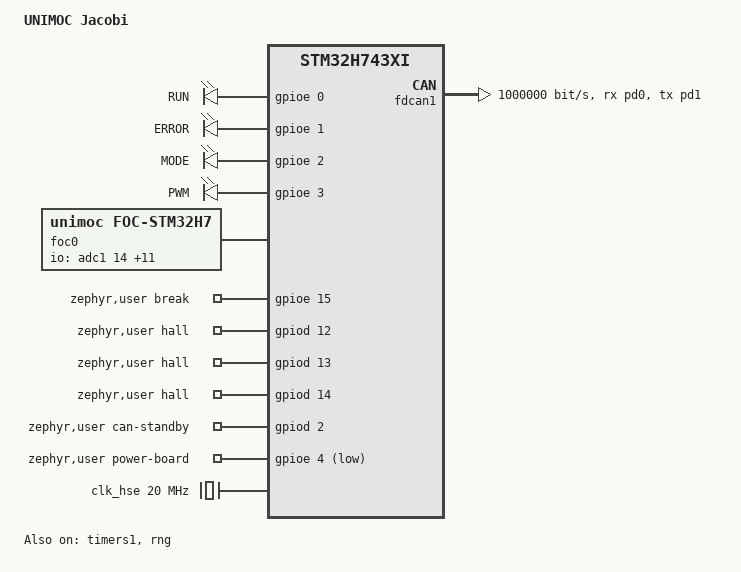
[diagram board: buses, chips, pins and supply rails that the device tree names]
/*
 * UNIMOC Jacobi: 36 V / 45 A drive, STM32H743VIT6 (LQFP100, 2 MB flash).
 *
 * The H7 redesign of the hardware_4850 logic board with its own power board
 * (docs/drive4850_h7_plan.md, schematic in Tecnologic/unimoc_jacobi), without
 * the fourth half bridge. Only the clock (20 MHz HSE) follows the drawn
 * schematic yet; the other pins follow the older pin proposal of the plan and
 * differ from the schematic (TODO.md, "Jacobi devicetree to the schematic").
 * Not run on hardware.
 *
 * Pin and peripheral assignment of the power stage lives in the foc0 node
 * below; the platform (hardware/zephyr_stm32h7) derives timer, ADCs, pins and
 * interrupts from it.
 *
 * SPDX-License-Identifier: GPL-3.0-or-later
 */

/dts-v1/;
#include <st/h7/stm32h743Xi.dtsi>
#include <st/h7/stm32h743vitx-pinctrl.dtsi>

/ {
	model = "UNIMOC Jacobi";
	compatible = "unimoc,jacobi";

	chosen {
		zephyr,sram = &sram0;
		zephyr,flash = &flash0;
		zephyr,dtcm = &dtcm;
		zephyr,itcm = &itcm; /* hot path, hardware/zephyr_stm32h7/hot_path_itcm.ld */
		zephyr,code-partition = &slot0_partition;
		zephyr,canbus = &fdcan1;
	};

	/* The status LEDs of hardware/status_leds.hpp. */
	aliases {
		unimoc-led-run = &led_run;
		unimoc-led-pwm = &led_pwm;
		unimoc-led-error = &led_error;
	};

	/*
	 * Status LEDs LED_RUN PE0, LED_ERROR PE1, LED_MODE PE2, LED_PWM PE3
	 * (schematic, interfaces sheet), active high.
	 */
	leds {
		compatible = "gpio-leds";
		led_run: led-run {
			gpios = <&gpioe 0 GPIO_ACTIVE_HIGH>;
			label = "RUN";
		};
		led_error: led-error {
			gpios = <&gpioe 1 GPIO_ACTIVE_HIGH>;
			label = "ERROR";
		};
		led_mode: led-mode {
			gpios = <&gpioe 2 GPIO_ACTIVE_HIGH>;
			label = "MODE";
		};
		led_pwm: led-pwm {
			gpios = <&gpioe 3 GPIO_ACTIVE_HIGH>;
			label = "PWM";
		};
	};

	/*
	 * Three-phase power stage on the Jacobi power board: NCEP6080AG (60 V),
	 * two in parallel per switch, LM5109B gate drivers, one 0.5 mOhm shunt
	 * with an INA240A1 per phase, 47k / 2k2 dividers for Va, Vb, Vc and Vdc
	 * (schematic in Tecnologic/unimoc_jacobi, docs/h743_logic_board.md).
	 *
	 * TIM1 generates centre-aligned PWM on CH1..CH3 (PA8..PA10) and
	 * CH1N..CH3N (PB13..PB15). TRGO2 (rising OC4REF / OC6REF) starts the
	 * injected sequences of ADC1..ADC3 at the same instant. The end of the
	 * ADC1 sequence is the sample interrupt (zero latency), the TIM1 update
	 * vector the observer interrupt. ADC1 has the longest sequence (both
	 * temperatures are on ADC1-only pins), so ADC2 and ADC3 are done by then.
	 */
	foc0: foc-power-stage {
		compatible = "unimoc,foc-stm32h7";
		status = "okay";

		timer = <&timers1>;

		/*
		 * The Jacobi power stage is designed for 200 ns (schematic, phase
		 * sheet). 1 us until 200 ns is checked on the scope.
		 */
		dead-time-ns = <1000>;

		/* Front end: 0.5 mOhm shunt with INA240A1 (+-160 A), 47k / 2k2 dividers (73.8 V). */
		shunt-nano-ohm = <500000>;
		current-amplifier-gain = <20>;
		voltage-divider-ohms = <47000 2200>;
		/* Trip 120 A (rating 120 to 130 A), 100 A peak phase current. */
		max-phase-current-amps = <120>;
		max-motor-current-amps = <100>;
		battery-current-amps = <45 20>;
		/* 60 V FETs, 36 V systems up to 44 V: derate 45 V, trip 48 V, at most 50 V. */
		dc-link-millivolts = <45000 48000 50000>;

		/*
		 * Gate driver supply +12P: 10k / 2k2 (R109/R110) at the drivers, on
		 * PC5 (V12P_SNS). The LM5109B undervoltage lockout is at about 6.7 V;
		 * the NCEP6080AG is specified at 10 V gate drive (the high side gets
		 * +12P less the bootstrap diode), so engage from 10.5 V, trip below 10 V.
		 */
		gate-supply-divider-ohms = <10000 2200>;
		gate-supply-millivolts = <10000 10500>;

		pinctrl-0 = <&tim1_ch1_pa8 &tim1_ch1n_pb13
			     &tim1_ch2_pa9 &tim1_ch2n_pb14
			     &tim1_ch3_pa10 &tim1_ch3n_pb15
			     &tim1_bkin_pe15
			     &analog_pa2 &analog_pb1 &analog_pa0 &analog_pa1
			     &analog_pa3 &analog_pb0 &analog_pc5 &analog_pc4
			     &analog_pc2_c &analog_pc3_c &analog_pc1 &analog_pc0>;
		pinctrl-names = "default";

		/*
		 * Injected sequences in this order, the phase current first on each
		 * ADC. Vdc (PC1) is on ADC3, which reaches it like ADC1 and ADC2, so
		 * ADC2 has room for +12P and the brake lever (ADC1/2-only pins).
		 * Accelerator and brake lever: J601, sensors on +3.3VADC through
		 * 11k / 100n (AIN_ACC, AIN_DCC), 0 V to the ADC reference.
		 */
		io-channels = <&adc1 14>, <&adc1 5>, <&adc1 16>, <&adc1 17>, /* PA2 ia, PB1 va, PA0, PA1   */
			      <&adc2 15>, <&adc2 9>, <&adc2 8>, <&adc2 4>,    /* PA3 ib, PB0 vb, PC5, PC4   */
			      <&adc3 0>, <&adc3 1>, <&adc3 11>, <&adc3 10>;   /* PC2_C ic, PC3_C vc, PC1, PC0 */
		io-channel-names = "ia", "va", "motor-temperature", "bridge-temperature",
				   "ib", "vb", "gate-supply", "brake",
				   "ic", "vc", "vdc", "accelerator";

		/*
		 * ADC clock cycles at 30 MHz (pll2_p 120 MHz / 4). Currents and phase
		 * voltages through 220R / 2n2, Vdc and +12P through 4k7 / 10n, the
		 * accelerator and brake through 11k / 100n: short, the filter capacitors
		 * charge the sample capacitor. NTCs: longer. ADC1 stays the longest
		 * sequence (84 against 52 cycles).
		 */
		sample-times = "2.5", "16.5", "32.5", "32.5",
			       "2.5", "16.5", "16.5", "16.5",
			       "2.5", "16.5", "16.5", "16.5";
	};

	/*
	 * Further board signals, named after the nets of the schematic.
	 */
	zephyr,user {
		/*
		 * PWM_EN: the optocoupler U1102 (12 to 40 V on J501) on PE15, which
		 * is also TIM1_BKIN: low breaks the outputs in hardware. There is no
		 * separate gate driver enable.
		 */
		break-gpios = <&gpioe 15 GPIO_ACTIVE_HIGH>;
		/* Hall sensors A, B, C (TIM4 CH1..CH3 for a later capture). */
		hall-gpios = <&gpiod 12 GPIO_ACTIVE_HIGH>,
			     <&gpiod 13 GPIO_ACTIVE_HIGH>,
			     <&gpiod 14 GPIO_ACTIVE_HIGH>;
		/* TCAN334 STB on PD2: high = standby. Driven low by the Cyphal platform. */
		can-standby-gpios = <&gpiod 2 GPIO_ACTIVE_HIGH>;
		/*
		 * PWR_DET on PE4 (10k pull-up R612, GND on the power board): low while
		 * the power board is plugged in. Without it the drive does not engage.
		 */
		power-board-gpios = <&gpioe 4 GPIO_ACTIVE_LOW>;
	};
};

/* Break input: open means break, so pull it down. */
&tim1_bkin_pe15 {
	bias-pull-down;
};

/* Used by the foc0 driver: enables the timer and its IRQ vectors. */
&timers1 {
	status = "okay";
};

/*
 * The foc0 driver programs ADC1..3 itself; the Zephyr ADC driver would claim
 * them. The nodes stay in the tree for the registers, clocks and IRQs.
 */
&adc1 {
	status = "disabled";
};

&adc2 {
	status = "disabled";
};

&adc3 {
	status = "disabled";
};

/* The H743 has no SMPS: the core supply comes from the LDO (VCAP pins). */
&pwr {
	power-supply = "ldo";
};

&clk_hsi48 {
	status = "okay";
};

/* HSE: 20 MHz oscillator X601 on PH0, bypass mode (unimoc_jacobi, mcu sheet). */
&clk_hse {
	clock-frequency = <DT_FREQ_M(20)>;
	hse-bypass;
	status = "okay";
};

/*
 * 20 MHz / 5 * 200 / 2 = 400 MHz core (silicon rev. Y limit; rev. V would
 * allow 480 MHz), HCLK 200 MHz, APB 100 MHz, TIM1 200 MHz.
 */
&pll {
	div-m = <5>;
	mul-n = <200>;
	div-p = <2>;
	div-q = <2>;
	div-r = <2>;
	clocks = <&clk_hse>;
	status = "okay";
};

/* 20 MHz / 10 * 120 = 240 MHz: P 120 MHz for the ADCs, Q 80 MHz for FDCAN1. */
&pll2 {
	div-m = <10>;
	mul-n = <120>;
	div-p = <2>;
	div-q = <3>;
	div-r = <2>;
	clocks = <&clk_hse>;
	status = "okay";
};

&rcc {
	clocks = <&pll>;
	clock-frequency = <DT_FREQ_M(400)>;
	d1cpre = <1>;
	hpre = <2>;
	d1ppre = <2>;
	d2ppre1 = <2>;
	d2ppre2 = <2>;
	d3ppre = <2>;
};

&rng {
	status = "okay";
};

/*
 * CAN: TCAN334 on FDCAN1 (PD0 RX, PD1 TX). The transceiver handles CAN FD
 * data rates, but the bus runs 1 Mbit/s in both phases like the other nodes
 * (app/boards/unimoc_jacobi.conf turns the bit rate switch off).
 */
&fdcan1 {
	pinctrl-0 = <&fdcan1_rx_pd0 &fdcan1_tx_pd1>;
	pinctrl-names = "default";
	clocks = <&rcc STM32_CLOCK(APB1_2, 8)>,
		 <&rcc STM32_SRC_PLL2_Q FDCAN_SEL(2)>;
	bitrate = <1000000>;
	sample-point = <875>;
	bitrate-data = <1000000>;
	sample-point-data = <875>;
	status = "okay";
};

/*
 * Flash, 2 x 1 MB banks with 128 KB sectors: the image in bank 1, the DFU
 * slot and the settings in bank 2, so that a settings erase does not stall
 * the code.
 */
&flash0 {
	partitions {
		compatible = "fixed-partitions";
		#address-cells = <1>;
		#size-cells = <1>;

		slot0_partition: partition@0 {
			label = "image-0";
			reg = <0x00000000 DT_SIZE_K(1024)>;
		};

		slot1_partition: partition@100000 {
			label = "image-1";
			reg = <0x00100000 DT_SIZE_K(768)>;
		};

		/* Settings: ZMS on two sectors. */
		storage_partition: partition@1c0000 {
			label = "storage";
			reg = <0x001c0000 DT_SIZE_K(256)>;
		};
	};
};
